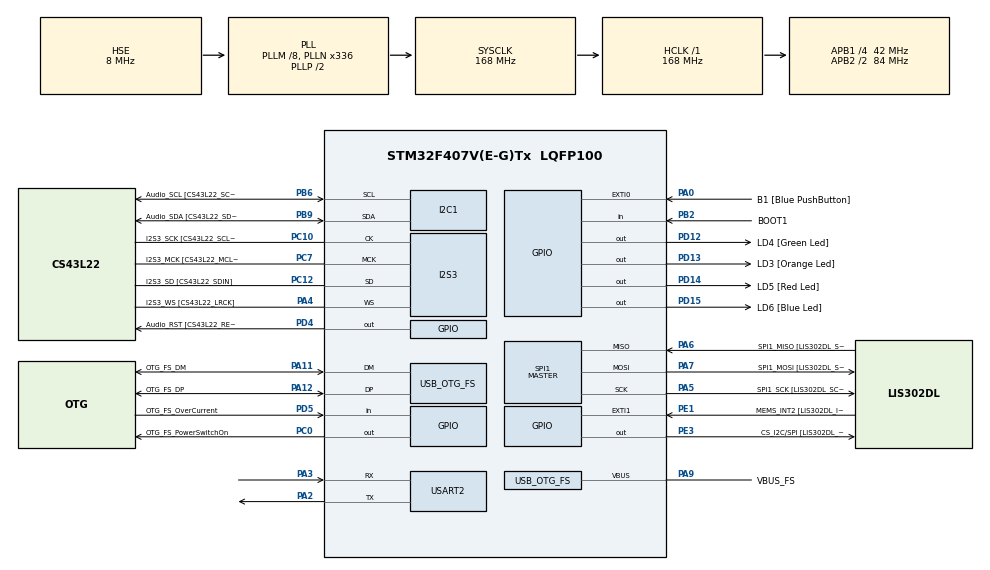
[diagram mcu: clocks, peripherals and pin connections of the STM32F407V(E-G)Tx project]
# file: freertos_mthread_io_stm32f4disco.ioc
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FREERTOS.Tasks01=defaultTask,24,128,StartDefaultTask,Default,NULL,Dynamic,NULL,NULL
I2S3.AudioFreq-Half_Duplex_Master=I2S_AUDIOFREQ_96K
I2S3.ErrorAudioFreq=-2.34 %
I2S3.ErrorAudioFreq-Half_Duplex_Master=0.8 %
I2S3.FullDuplexMode=I2S_FULLDUPLEXMODE_DISABLE
I2S3.Instance=SPI$Index
I2S3.RealAudioFreq=93.75 KHz
I2S3.RealAudioFreq-Half_Duplex_Master=96.774 KHz
I2S3.VirtualMode=I2S_MODE_MASTER
Mcu.Family=STM32F4
Mcu.Name=STM32F407V(E-G)Tx
Mcu.Package=LQFP100
NVIC.OTG_FS_IRQn=true\:0\:0\:false\:false\:true\:false\:true\:true
NVIC.PriorityGroup=NVIC_PRIORITYGROUP_4
NVIC.USART2_IRQn=true\:0\:0\:false\:false\:true\:true\:true\:true
PA0-WKUP.GPIO_Label=B1 [Blue PushButton]
PA0-WKUP.GPIO_ModeDefaultEXTI=GPIO_MODE_IT_RISING_FALLING
PA0-WKUP.GPIO_PuPd=GPIO_PULLDOWN
PA0-WKUP.Signal=GPXTI0
PA10.GPIO_Label=OTG_FS_ID
PA10.GPIO_Mode=GPIO_MODE_AF_PP
PA10.GPIO_PuPd=GPIO_NOPULL
PA10.GPIO_Speed=GPIO_SPEED_FREQ_LOW
PA10.Signal=USB_OTG_FS_ID
PA11.GPIO_Label=OTG_FS_DM
PA11.GPIO_Mode=GPIO_MODE_AF_PP
PA11.GPIO_PuPd=GPIO_NOPULL
PA11.GPIO_Speed=GPIO_SPEED_FREQ_LOW
PA11.Mode=Host_Only
PA11.Signal=USB_OTG_FS_DM
PA12.GPIO_Label=OTG_FS_DP
PA12.GPIO_Mode=GPIO_MODE_AF_PP
PA12.GPIO_PuPd=GPIO_NOPULL
PA12.GPIO_Speed=GPIO_SPEED_FREQ_LOW
PA12.Mode=Host_Only
PA12.Signal=USB_OTG_FS_DP
PA13.GPIO_Label=SWDIO
PA13.Mode=Serial_Wire
PA13.Signal=SYS_JTMS-SWDIO
PA14.GPIO_Label=SWCLK
PA14.Mode=Serial_Wire
PA14.Signal=SYS_JTCK-SWCLK
PA2.Mode=Asynchronous
PA2.Signal=USART2_TX
PA3.Mode=Asynchronous
PA3.Signal=USART2_RX
PA4.GPIO_Label=I2S3_WS [CS43L22_LRCK]
PA4.GPIO_Mode=GPIO_MODE_AF_PP
PA4.GPIO_PuPd=GPIO_NOPULL
PA4.GPIO_Speed=GPIO_SPEED_FREQ_LOW
PA4.Mode=Half_Duplex_Master
PA4.Signal=I2S3_WS
PA5.GPIO_Label=SPI1_SCK [LIS302DL_SCL/SPC]
PA5.GPIO_Mode=GPIO_MODE_AF_PP
PA5.GPIO_PuPd=GPIO_NOPULL
PA5.GPIO_Speed=GPIO_SPEED_FREQ_LOW
PA5.Mode=Full_Duplex_Master
PA5.Signal=SPI1_SCK
PA6.GPIO_Label=SPI1_MISO [LIS302DL_SDO]
PA6.GPIO_Mode=GPIO_MODE_AF_PP
PA6.GPIO_PuPd=GPIO_NOPULL
PA6.GPIO_Speed=GPIO_SPEED_FREQ_LOW
PA6.Mode=Full_Duplex_Master
PA6.Signal=SPI1_MISO
PA7.GPIO_Label=SPI1_MOSI [LIS302DL_SDA/SDI/SDO]
PA7.GPIO_Mode=GPIO_MODE_AF_PP
PA7.GPIO_PuPd=GPIO_NOPULL
PA7.GPIO_Speed=GPIO_SPEED_FREQ_LOW
PA7.Mode=Full_Duplex_Master
PA7.Signal=SPI1_MOSI
PA9.GPIO_Label=VBUS_FS
PA9.GPIO_Mode=GPIO_MODE_INPUT
PA9.GPIO_PuPd=GPIO_NOPULL
PA9.Mode=Activate_VBUS
PA9.Signal=USB_OTG_FS_VBUS
PB10.GPIO_Label=CLK_IN [MP45DT02_CLK]
PB10.GPIO_Mode=GPIO_MODE_AF_PP
PB10.GPIO_PuPd=GPIO_NOPULL
PB10.GPIO_Speed=GPIO_SPEED_FREQ_LOW
PB10.Signal=I2S2_CK
PB2.GPIO_Label=BOOT1
PB2.GPIO_Mode=GPIO_MODE_INPUT
PB2.GPIO_PuPd=GPIO_NOPULL
PB2.Signal=GPIO_Input
PB3.GPIO_Label=SWO
PB3.Signal=SYS_JTDO-SWO
PB6.GPIO_Label=Audio_SCL [CS43L22_SCL]
PB6.GPIO_Mode=GPIO_MODE_AF_OD
PB6.GPIO_PuPd=GPIO_NOPULL
PB6.GPIO_Speed=GPIO_SPEED_FREQ_LOW
PB6.Mode=I2C
PB6.Signal=I2C1_SCL
PB9.GPIO_Label=Audio_SDA [CS43L22_SDA]
PB9.GPIO_Mode=GPIO_MODE_AF_OD
PB9.GPIO_PuPd=GPIO_NOPULL
PB9.GPIO_Speed=GPIO_SPEED_FREQ_LOW
PB9.Mode=I2C
PB9.Signal=I2C1_SDA
PC0.GPIO_Label=OTG_FS_PowerSwitchOn
PC0.GPIO_PuPd=GPIO_NOPULL
PC0.GPIO_Speed=GPIO_SPEED_FREQ_LOW
PC0.PinState=GPIO_PIN_SET
PC0.Signal=GPIO_Output
PC10.GPIO_Label=I2S3_SCK [CS43L22_SCLK]
PC10.GPIO_Mode=GPIO_MODE_AF_PP
PC10.GPIO_PuPd=GPIO_NOPULL
PC10.GPIO_Speed=GPIO_SPEED_FREQ_LOW
PC10.Mode=Half_Duplex_Master
PC10.Signal=I2S3_CK
PC12.GPIO_Label=I2S3_SD [CS43L22_SDIN]
PC12.GPIO_Mode=GPIO_MODE_AF_PP
PC12.GPIO_PuPd=GPIO_NOPULL
PC12.GPIO_Speed=GPIO_SPEED_FREQ_LOW
PC12.Mode=Half_Duplex_Master
PC12.Signal=I2S3_SD
PC14-OSC32_IN.GPIO_Label=PC14-OSC32_IN
PC14-OSC32_IN.Mode=LSE-External-Oscillator
PC14-OSC32_IN.Signal=RCC_OSC32_IN
PC15-OSC32_OUT.GPIO_Label=PC15-OSC32_OUT
PC15-OSC32_OUT.Mode=LSE-External-Oscillator
PC15-OSC32_OUT.Signal=RCC_OSC32_OUT
PC3.GPIO_Label=PDM_OUT [MP45DT02_DOUT]
PC3.GPIO_Mode=GPIO_MODE_AF_PP
PC3.GPIO_PuPd=GPIO_NOPULL
PC3.GPIO_Speed=GPIO_SPEED_FREQ_LOW
PC3.Signal=I2S2_SD
PC7.GPIO_Label=I2S3_MCK [CS43L22_MCLK]
PC7.GPIO_Mode=GPIO_MODE_AF_PP
PC7.GPIO_PuPd=GPIO_NOPULL
PC7.GPIO_Speed=GPIO_SPEED_FREQ_LOW
PC7.Mode=Master_Clock_Activated
PC7.Signal=I2S3_MCK
PD12.GPIO_Label=LD4 [Green Led]
PD12.GPIO_PuPd=GPIO_NOPULL
PD12.GPIO_Speed=GPIO_SPEED_FREQ_LOW
PD12.Signal=GPIO_Output
PD13.GPIO_Label=LD3 [Orange Led]
PD13.GPIO_PuPd=GPIO_NOPULL
PD13.GPIO_Speed=GPIO_SPEED_FREQ_LOW
PD13.Signal=GPIO_Output
PD14.GPIO_Label=LD5 [Red Led]
PD14.GPIO_PuPd=GPIO_NOPULL
PD14.GPIO_Speed=GPIO_SPEED_FREQ_LOW
PD14.Signal=GPIO_Output
PD15.GPIO_Label=LD6 [Blue Led]
PD15.GPIO_PuPd=GPIO_NOPULL
PD15.GPIO_Speed=GPIO_SPEED_FREQ_LOW
PD15.Signal=GPIO_Output
PD4.GPIO_Label=Audio_RST [CS43L22_RESET]
PD4.GPIO_PuPd=GPIO_NOPULL
PD4.GPIO_Speed=GPIO_SPEED_FREQ_LOW
PD4.Signal=GPIO_Output
PD5.GPIO_Label=OTG_FS_OverCurrent
PD5.GPIO_Mode=GPIO_MODE_INPUT
PD5.GPIO_PuPd=GPIO_NOPULL
PD5.Signal=GPIO_Input
PE1.GPIO_Label=MEMS_INT2 [LIS302DL_INT2]
PE1.GPIO_ModeDefaultEXTI=GPIO_MODE_EVT_RISING
PE1.GPIO_PuPd=GPIO_NOPULL
PE1.Signal=GPXTI1
PE3.GPIO_Label=CS_I2C/SPI [LIS302DL_CS_I2C/SPI]
PE3.GPIO_PuPd=GPIO_NOPULL
PE3.GPIO_Speed=GPIO_SPEED_FREQ_LOW
PE3.Signal=GPIO_Output
PH0-OSC_IN.GPIO_Label=PH0-OSC_IN
PH0-OSC_IN.Mode=HSE-External-Oscillator
PH0-OSC_IN.Signal=RCC_OSC_IN
PH1-OSC_OUT.GPIO_Label=PH1-OSC_OUT
PH1-OSC_OUT.Mode=HSE-External-Oscillator
PH1-OSC_OUT.Signal=RCC_OSC_OUT
ProjectManager.HeapSize=0x200
ProjectManager.StackSize=0x400
ProjectManager.TargetToolchain=STM32CubeIDE
RCC.48MHZClocksFreq_Value=48000000
RCC.AHBFreq_Value=168000000
RCC.APB1CLKDivider=RCC_HCLK_DIV4
RCC.APB1Freq_Value=42000000
RCC.APB1TimFreq_Value=84000000
RCC.APB2CLKDivider=RCC_HCLK_DIV2
RCC.APB2Freq_Value=84000000
RCC.APB2TimFreq_Value=168000000
RCC.CortexFreq_Value=168000000
RCC.HCLKFreq_Value=168000000
RCC.HSE_VALUE=8000000
RCC.HSI_VALUE=16000000
RCC.PLLM=8
RCC.PLLN=336
RCC.PLLQ=7
RCC.SYSCLKFreq_VALUE=168000000
RCC.SYSCLKSource=RCC_SYSCLKSOURCE_PLLCLK
RCC.VCOOutputFreq_Value=336000000
SPI1.BaudRatePrescaler-Full_Duplex_Master=SPI_BAUDRATEPRESCALER_2
SPI1.CalculateBaudRate-Full_Duplex_Master=42.0 MBits/s
SPI1.Direction=SPI_DIRECTION_2LINES
SPI1.Mode=SPI_MODE_MASTER
SPI1.Mode-Full_Duplex_Master=SPI_MODE_MASTER
SPI1.VirtualType=VM_MASTER
USART2.VirtualMode=VM_ASYNC
USB_HOST.BSP.number=1
USB_HOST.USBH_HandleTypeDef-CDC_FS=hUsbHostFS
USB_HOST.USBH_USE_OS-CDC_FS=0
USB_HOST.VirtualModeFS=Cdc
USB_HOST0.BSP.STBoard=false
USB_HOST0.BSP.api=Unknown
USB_HOST0.BSP.i2caddr=0
USB_HOST0.BSP.i2creg=0
USB_HOST0.BSP.instance=PC0
USB_HOST0.BSP.ip=GPIO
USB_HOST0.BSP.mode=Output
USB_HOST0.BSP.name=Drive_VBUS_FS
USB_HOST0.BSP.solution=PC0
USB_OTG_FS.VirtualMode=Host_Only
USB_OTG_FS.phy_itface=HCD_PHY_EMBEDDED
VP_FREERTOS_VS_CMSIS_V2.Mode=CMSIS_V2
VP_USB_HOST_VS_USB_HOST_CDC_FS.Mode=CDC_FS
board=STM32F407G-DISC1

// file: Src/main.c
/* USER CODE BEGIN Header */
/**
  ******************************************************************************
  * @file           : main.c
  * @brief          : Main program body
  ******************************************************************************
  * @attention
  *
  * <h2><center>&copy; Copyright (c) 2020 STMicroelectronics.
  * All rights reserved.</center></h2>
  *
  * This software component is licensed by ST under Ultimate Liberty license
  * SLA0044, the "License"; You may not use this file except in compliance with
  * the License. You may obtain a copy of the License at:
  *                             www.st.com/SLA0044
  *
  ******************************************************************************
  */
/* USER CODE END Header */
#include "main.h"
#include "cmsis_os.h"
#include "usb_host.h"

/* USER CODE BEGIN Includes */
#include "thread_defs.h"
/* USER CODE END Includes */

I2C_HandleTypeDef hi2c1;

I2S_HandleTypeDef hi2s3;

SPI_HandleTypeDef hspi1;

UART_HandleTypeDef huart2;

/* Definitions for defaultTask */
osThreadId_t defaultTaskHandle;
const osThreadAttr_t defaultTask_attributes = {
  .name = "defaultTask",
  .priority = (osPriority_t) osPriorityNormal,
  .stack_size = 128 * 4
};

void SystemClock_Config(void);
static void MX_GPIO_Init(void);
static void MX_I2C1_Init(void);
static void MX_I2S3_Init(void);
static void MX_SPI1_Init(void);
static void MX_USART2_UART_Init(void);
void StartDefaultTask(void *argument);

int main(void)
{

  /* MCU Configuration--------------------------------------------------------*/

  /* Reset of all peripherals, Initializes the Flash interface and the Systick. */
  HAL_Init();

  /* Configure the system clock */
  SystemClock_Config();

  /* USER CODE BEGIN SysInit */
  HAL_NVIC_SetPriority(SysTick_IRQn, configLIBRARY_MAX_SYSCALL_INTERRUPT_PRIORITY +1, 0);
  /* USER CODE END SysInit */

  /* Initialize all configured peripherals */
  MX_GPIO_Init();
  MX_I2C1_Init();
  MX_I2S3_Init();
  MX_SPI1_Init();
  MX_USART2_UART_Init();
  /* USER CODE BEGIN 2 */
  HAL_NVIC_DisableIRQ(USART2_IRQn);
  HAL_NVIC_SetPriority(USART2_IRQn, configLIBRARY_MAX_SYSCALL_INTERRUPT_PRIORITY +1, 0);
  HAL_NVIC_EnableIRQ(USART2_IRQn);
  /* USER CODE END 2 */

  /* Init scheduler */
  osKernelInitialize();

  /* Create the thread(s) */
  /* creation of defaultTask */
  defaultTaskHandle = osThreadNew(StartDefaultTask, NULL, &defaultTask_attributes);

  /* Start scheduler */
  osKernelStart();

  /* We should never get here as control is now taken by the scheduler */
  /* Infinite loop */
  while (1)
  {

  }
}

void SystemClock_Config(void)
{
  RCC_OscInitTypeDef RCC_OscInitStruct = {0};
  RCC_ClkInitTypeDef RCC_ClkInitStruct = {0};
  RCC_PeriphCLKInitTypeDef PeriphClkInitStruct = {0};

  /** Configure the main internal regulator output voltage
  */
  __HAL_RCC_PWR_CLK_ENABLE();
  __HAL_PWR_VOLTAGESCALING_CONFIG(PWR_REGULATOR_VOLTAGE_SCALE1);
  /** Initializes the RCC Oscillators according to the specified parameters
  * in the RCC_OscInitTypeDef structure.
  */
  RCC_OscInitStruct.OscillatorType = RCC_OSCILLATORTYPE_HSE;
  RCC_OscInitStruct.HSEState = RCC_HSE_ON;
  RCC_OscInitStruct.PLL.PLLState = RCC_PLL_ON;
  RCC_OscInitStruct.PLL.PLLSource = RCC_PLLSOURCE_HSE;
  RCC_OscInitStruct.PLL.PLLM = 8;
  RCC_OscInitStruct.PLL.PLLN = 336;
  RCC_OscInitStruct.PLL.PLLP = RCC_PLLP_DIV2;
  RCC_OscInitStruct.PLL.PLLQ = 7;
  if (HAL_RCC_OscConfig(&RCC_OscInitStruct) != HAL_OK)
  {
    Error_Handler();
  }
  /** Initializes the CPU, AHB and APB buses clocks
  */
  RCC_ClkInitStruct.ClockType = RCC_CLOCKTYPE_HCLK|RCC_CLOCKTYPE_SYSCLK
                              |RCC_CLOCKTYPE_PCLK1|RCC_CLOCKTYPE_PCLK2;
  RCC_ClkInitStruct.SYSCLKSource = RCC_SYSCLKSOURCE_PLLCLK;
  RCC_ClkInitStruct.AHBCLKDivider = RCC_SYSCLK_DIV1;
  RCC_ClkInitStruct.APB1CLKDivider = RCC_HCLK_DIV4;
  RCC_ClkInitStruct.APB2CLKDivider = RCC_HCLK_DIV2;

  if (HAL_RCC_ClockConfig(&RCC_ClkInitStruct, FLASH_LATENCY_5) != HAL_OK)
  {
    Error_Handler();
  }
  PeriphClkInitStruct.PeriphClockSelection = RCC_PERIPHCLK_I2S;
  PeriphClkInitStruct.PLLI2S.PLLI2SN = 192;
  PeriphClkInitStruct.PLLI2S.PLLI2SR = 2;
  if (HAL_RCCEx_PeriphCLKConfig(&PeriphClkInitStruct) != HAL_OK)
  {
    Error_Handler();
  }
}

static void MX_I2C1_Init(void)
{

  hi2c1.Instance = I2C1;
  hi2c1.Init.ClockSpeed = 100000;
  hi2c1.Init.DutyCycle = I2C_DUTYCYCLE_2;
  hi2c1.Init.OwnAddress1 = 0;
  hi2c1.Init.AddressingMode = I2C_ADDRESSINGMODE_7BIT;
  hi2c1.Init.DualAddressMode = I2C_DUALADDRESS_DISABLE;
  hi2c1.Init.OwnAddress2 = 0;
  hi2c1.Init.GeneralCallMode = I2C_GENERALCALL_DISABLE;
  hi2c1.Init.NoStretchMode = I2C_NOSTRETCH_DISABLE;
  if (HAL_I2C_Init(&hi2c1) != HAL_OK)
  {
    Error_Handler();
  }

}

static void MX_I2S3_Init(void)
{

  hi2s3.Instance = SPI3;
  hi2s3.Init.Mode = I2S_MODE_MASTER_TX;
  hi2s3.Init.Standard = I2S_STANDARD_PHILIPS;
  hi2s3.Init.DataFormat = I2S_DATAFORMAT_16B;
  hi2s3.Init.MCLKOutput = I2S_MCLKOUTPUT_ENABLE;
  hi2s3.Init.AudioFreq = I2S_AUDIOFREQ_96K;
  hi2s3.Init.CPOL = I2S_CPOL_LOW;
  hi2s3.Init.ClockSource = I2S_CLOCK_PLL;
  hi2s3.Init.FullDuplexMode = I2S_FULLDUPLEXMODE_DISABLE;
  if (HAL_I2S_Init(&hi2s3) != HAL_OK)
  {
    Error_Handler();
  }

}

static void MX_SPI1_Init(void)
{

  /* SPI1 parameter configuration*/
  hspi1.Instance = SPI1;
  hspi1.Init.Mode = SPI_MODE_MASTER;
  hspi1.Init.Direction = SPI_DIRECTION_2LINES;
  hspi1.Init.DataSize = SPI_DATASIZE_8BIT;
  hspi1.Init.CLKPolarity = SPI_POLARITY_LOW;
  hspi1.Init.CLKPhase = SPI_PHASE_1EDGE;
  hspi1.Init.NSS = SPI_NSS_SOFT;
  hspi1.Init.BaudRatePrescaler = SPI_BAUDRATEPRESCALER_2;
  hspi1.Init.FirstBit = SPI_FIRSTBIT_MSB;
  hspi1.Init.TIMode = SPI_TIMODE_DISABLE;
  hspi1.Init.CRCCalculation = SPI_CRCCALCULATION_DISABLE;
  hspi1.Init.CRCPolynomial = 10;
  if (HAL_SPI_Init(&hspi1) != HAL_OK)
  {
    Error_Handler();
  }

}

static void MX_USART2_UART_Init(void)
{

  /* USER CODE BEGIN USART2_Init 0 */
  const uint8_t HelloUart2[] = "Hello uart2!\r\n";
  /* USER CODE END USART2_Init 0 */

  huart2.Instance = USART2;
  huart2.Init.BaudRate = 115200;
  huart2.Init.WordLength = UART_WORDLENGTH_8B;
  huart2.Init.StopBits = UART_STOPBITS_1;
  huart2.Init.Parity = UART_PARITY_NONE;
  huart2.Init.Mode = UART_MODE_TX_RX;
  huart2.Init.HwFlowCtl = UART_HWCONTROL_NONE;
  huart2.Init.OverSampling = UART_OVERSAMPLING_16;
  if (HAL_UART_Init(&huart2) != HAL_OK)
  {
    Error_Handler();
  }
  /* USER CODE BEGIN USART2_Init 2 */
  HAL_UART_Transmit_IT(&huart2, (uint8_t *)HelloUart2, sizeof(HelloUart2));
  /* USER CODE END USART2_Init 2 */

}

static void MX_GPIO_Init(void)
{
  GPIO_InitTypeDef GPIO_InitStruct = {0};

  /* GPIO Ports Clock Enable */
  __HAL_RCC_GPIOE_CLK_ENABLE();
  __HAL_RCC_GPIOC_CLK_ENABLE();
  __HAL_RCC_GPIOH_CLK_ENABLE();
  __HAL_RCC_GPIOA_CLK_ENABLE();
  __HAL_RCC_GPIOB_CLK_ENABLE();
  __HAL_RCC_GPIOD_CLK_ENABLE();

  /*Configure GPIO pin Output Level */
  HAL_GPIO_WritePin(CS_I2C_SPI_GPIO_Port, CS_I2C_SPI_Pin, GPIO_PIN_RESET);

  /*Configure GPIO pin Output Level */
  HAL_GPIO_WritePin(OTG_FS_PowerSwitchOn_GPIO_Port, OTG_FS_PowerSwitchOn_Pin, GPIO_PIN_SET);

  /*Configure GPIO pin Output Level */
  HAL_GPIO_WritePin(GPIOD, LD4_Pin|LD3_Pin|LD5_Pin|LD6_Pin
                          |Audio_RST_Pin, GPIO_PIN_RESET);

  /*Configure GPIO pin : CS_I2C_SPI_Pin */
  GPIO_InitStruct.Pin = CS_I2C_SPI_Pin;
  GPIO_InitStruct.Mode = GPIO_MODE_OUTPUT_PP;
  GPIO_InitStruct.Pull = GPIO_NOPULL;
  GPIO_InitStruct.Speed = GPIO_SPEED_FREQ_LOW;
  HAL_GPIO_Init(CS_I2C_SPI_GPIO_Port, &GPIO_InitStruct);

  /*Configure GPIO pin : OTG_FS_PowerSwitchOn_Pin */
  GPIO_InitStruct.Pin = OTG_FS_PowerSwitchOn_Pin;
  GPIO_InitStruct.Mode = GPIO_MODE_OUTPUT_PP;
  GPIO_InitStruct.Pull = GPIO_NOPULL;
  GPIO_InitStruct.Speed = GPIO_SPEED_FREQ_LOW;
  HAL_GPIO_Init(OTG_FS_PowerSwitchOn_GPIO_Port, &GPIO_InitStruct);

  /*Configure GPIO pin : PDM_OUT_Pin */
  GPIO_InitStruct.Pin = PDM_OUT_Pin;
  GPIO_InitStruct.Mode = GPIO_MODE_AF_PP;
  GPIO_InitStruct.Pull = GPIO_NOPULL;
  GPIO_InitStruct.Speed = GPIO_SPEED_FREQ_LOW;
  GPIO_InitStruct.Alternate = GPIO_AF5_SPI2;
  HAL_GPIO_Init(PDM_OUT_GPIO_Port, &GPIO_InitStruct);

  /*Configure GPIO pin : B1_Pin */
  GPIO_InitStruct.Pin = B1_Pin;
  GPIO_InitStruct.Mode = GPIO_MODE_IT_RISING_FALLING;
  GPIO_InitStruct.Pull = GPIO_PULLDOWN;
  HAL_GPIO_Init(B1_GPIO_Port, &GPIO_InitStruct);

  /*Configure GPIO pin : BOOT1_Pin */
  GPIO_InitStruct.Pin = BOOT1_Pin;
  GPIO_InitStruct.Mode = GPIO_MODE_INPUT;
  GPIO_InitStruct.Pull = GPIO_NOPULL;
  HAL_GPIO_Init(BOOT1_GPIO_Port, &GPIO_InitStruct);

  /*Configure GPIO pin : CLK_IN_Pin */
  GPIO_InitStruct.Pin = CLK_IN_Pin;
  GPIO_InitStruct.Mode = GPIO_MODE_AF_PP;
  GPIO_InitStruct.Pull = GPIO_NOPULL;
  GPIO_InitStruct.Speed = GPIO_SPEED_FREQ_LOW;
  GPIO_InitStruct.Alternate = GPIO_AF5_SPI2;
  HAL_GPIO_Init(CLK_IN_GPIO_Port, &GPIO_InitStruct);

  /*Configure GPIO pins : LD4_Pin LD3_Pin LD5_Pin LD6_Pin
                           Audio_RST_Pin */
  GPIO_InitStruct.Pin = LD4_Pin|LD3_Pin|LD5_Pin|LD6_Pin
                          |Audio_RST_Pin;
  GPIO_InitStruct.Mode = GPIO_MODE_OUTPUT_PP;
  GPIO_InitStruct.Pull = GPIO_NOPULL;
  GPIO_InitStruct.Speed = GPIO_SPEED_FREQ_LOW;
  HAL_GPIO_Init(GPIOD, &GPIO_InitStruct);

  /*Configure GPIO pin : OTG_FS_OverCurrent_Pin */
  GPIO_InitStruct.Pin = OTG_FS_OverCurrent_Pin;
  GPIO_InitStruct.Mode = GPIO_MODE_INPUT;
  GPIO_InitStruct.Pull = GPIO_NOPULL;
  HAL_GPIO_Init(OTG_FS_OverCurrent_GPIO_Port, &GPIO_InitStruct);

  /*Configure GPIO pin : MEMS_INT2_Pin */
  GPIO_InitStruct.Pin = MEMS_INT2_Pin;
  GPIO_InitStruct.Mode = GPIO_MODE_EVT_RISING;
  GPIO_InitStruct.Pull = GPIO_NOPULL;
  HAL_GPIO_Init(MEMS_INT2_GPIO_Port, &GPIO_InitStruct);

}

void StartDefaultTask(void *argument)
{
  /* init code for USB_HOST */
  MX_USB_HOST_Init();
  /* USER CODE BEGIN 5 */
  {
	osThreadId_t checkTaskHandle;

	checkTaskHandle = osThreadNew(SINGLELED_Task, NULL, &singleLedTask_attributes);
	if(checkTaskHandle == NULL)
	{
	  Error_Handler();
	}
	checkTaskHandle = osThreadNew(GROUPLED_Task, NULL, &groupLedTask_attributes);
	if(checkTaskHandle == NULL)
	{
	  Error_Handler();
	}
	checkTaskHandle = osThreadNew(ButtonRead_Task, NULL, &buttonReadTask_attributes);
	if(checkTaskHandle == NULL)
	{
	  Error_Handler();
	}
  }
  /* Infinite loop */
  for(;;)
  {
    osDelay(400);
  }
  /* USER CODE END 5 */
}

void Error_Handler(void)
{
}

/************************ (C) COPYRIGHT STMicroelectronics *****END OF FILE****/

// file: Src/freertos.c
/* USER CODE BEGIN Header */
/**
  ******************************************************************************
  * File Name          : freertos.c
  * Description        : Code for freertos applications
  ******************************************************************************
  * @attention
  *
  * <h2><center>&copy; Copyright (c) 2020 STMicroelectronics.
  * All rights reserved.</center></h2>
  *
  * This software component is licensed by ST under Ultimate Liberty license
  * SLA0044, the "License"; You may not use this file except in compliance with
  * the License. You may obtain a copy of the License at:
  *                             www.st.com/SLA0044
  *
  ******************************************************************************
  */
/* USER CODE END Header */

#include "FreeRTOS.h"
#include "task.h"
#include "main.h"

/* USER CODE BEGIN Includes */
#include "thread_defs.h"
/* USER CODE END Includes */

/* USER CODE BEGIN Variables */

const osThreadAttr_t singleLedTask_attributes = {
                 .name = "singleLedTask",
                 .priority = (osPriority_t) osPriorityNormal,
                 .stack_size = 128 * 4
};
const osThreadAttr_t groupLedTask_attributes = {
                 .name = "groupLedTask",
                 .priority = (osPriority_t) osPriorityNormal,
                 .stack_size = 128 * 4
};

/* USER CODE END Variables */

/* USER CODE BEGIN Application */
void SINGLELED_Task(void *argument)
{
	  HAL_GPIO_WritePin(GPIOD, LD4_Pin, GPIO_PIN_SET);
	  /* Infinite loop */
	  for(;;)
	  {
	    osDelay(100);
	    HAL_GPIO_TogglePin(GPIOD, LD4_Pin);
	  }

}
void GROUPLED_Task(void *argument)
{
	  HAL_GPIO_WritePin(GPIOD, LD3_Pin|LD6_Pin, GPIO_PIN_SET);
	  /* Infinite loop */
	  for(;;)
	  {
	    osDelay(400);
	    HAL_GPIO_TogglePin(GPIOD, LD5_Pin|LD6_Pin);
	    HAL_GPIO_TogglePin(GPIOD, LD3_Pin);
	  }
}

const osThreadAttr_t buttonReadTask_attributes = {
                 .name = "buttonReadTask",
                 .priority = (osPriority_t) osPriorityNormal,
                 .stack_size = 128 * 4
};

StaticSemaphore_t	xSemaButton_cb_mem;

osSemaphoreId_t xSemaButtonStateChanged;

osSemaphoreAttr_t  xSemaButtonStateChanged_attribute = {
				.name = "semaButtonStateChanged",
				.cb_mem = &xSemaButton_cb_mem,    ///< memory for control block
				.cb_size = sizeof(StaticSemaphore_t),   ///< size of provided memory for control block
};

void ButtonRead_Task(void *argument)
{
	char buff[10] = {'0', '0', '0', '0', '0', '0', '0', '0', '0', ' '};
	xSemaButtonStateChanged = osSemaphoreNew (1, 0 , &xSemaButtonStateChanged_attribute);

	if( xSemaButtonStateChanged != NULL )
    { /* EXTI interrupt init*/
	  // the preemption priority for EXTI0_IRQn has to be above or equal to
	  // configLIBRARY_MAX_SYSCALL_INTERRUPT_PRIORITY in order to invoke syscall
	  // from EXTI0_ISR
	  HAL_NVIC_SetPriority(EXTI0_IRQn, configLIBRARY_MAX_SYSCALL_INTERRUPT_PRIORITY +1, 0);
	  HAL_NVIC_EnableIRQ(EXTI0_IRQn);
    }

    for(;;)
	{
        if( osSemaphoreAcquire( xSemaButtonStateChanged, 8000 ) == osOK )
        {
        	uint32_t tCount = osKernelGetTickCount ();
        	sprintf ( buff, "%8ld", tCount);
        	HAL_UART_Transmit_IT(&huart2, (uint8_t *)buff, 10);
        	HAL_GPIO_TogglePin(GPIOD, LD3_Pin);
        	osDelay(100);
        	HAL_UART_Transmit_IT(&huart2, (uint8_t *)"button state changed\n\r", sizeof("button state changed\n\r"));
            // ...
        }
        else
        {
        	// timeout to acquire xSema
        	HAL_UART_Transmit_IT(&huart2, (uint8_t *)"time expired to wait for button\r\n", sizeof("time expired to wait for button\r\n"));
        }

	}

}

/* USER CODE END Application */

/************************ (C) COPYRIGHT STMicroelectronics *****END OF FILE****/
